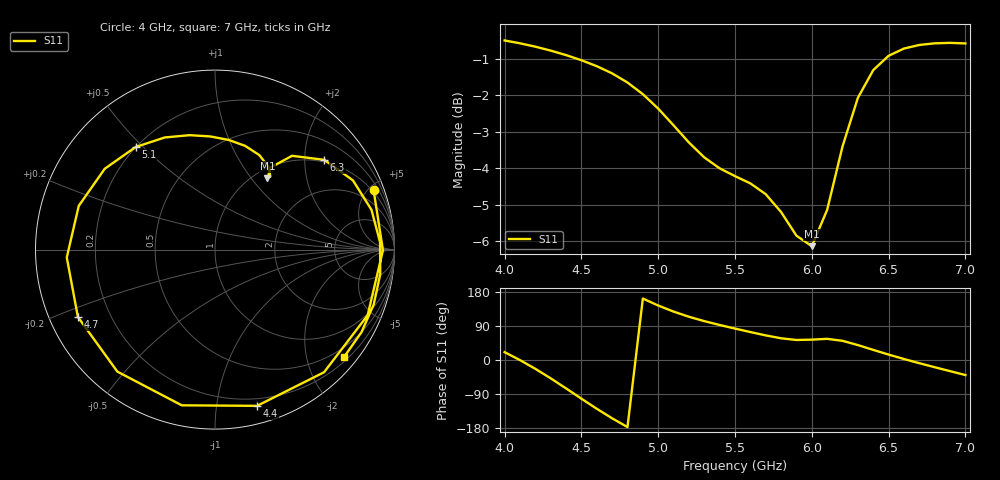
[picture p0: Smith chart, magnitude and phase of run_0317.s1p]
! Touchstone file exported from HFSS 2024.2.0
!  File:  C:/Users/wsak9/Desktop/Sim Fast/Widenad Patch/WP_AI_V1_sweep.aedt
!  Generated:  04:24:50 AM Oct 14, 2026
!  Design:  A1_model
!  Project:  WP_AI_V1_sweep
!  Setup:  Setup1
!  Solution:  Sweep
! Variables:
!  Air_gap = 3.98mm
!  Curve_Amp1 = 1.12
!  Curve_len1 = 1
!  Curve_pos = 10.515mm
!  Extra = 6.64mm
!  H_sub = 0.79mm
!  L_Patch = 17.03mm
!  L_Patch1 = 15.72mm
!  Sx = 3.78mm
!  Sy = 3.28mm
!  WS = 0.42mm
!  W_Patch = 17mm
!  W_Patch1 = 9.08mm
!Data is not renormalized
# GHz S MA
! Terminal data exported
! Port[1] = 1
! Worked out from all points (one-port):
!   31 points, 4 GHz to 7 GHz, reference per port
!   lowest |S11| = -6.1 dB at 6 GHz (marker M1), VSWR 2.95
!   |S11| at or under -10 dB: nowhere
!   S11 on the Smith chart (normalised r, x): 4 GHz: 0.87, +5.34; 4.4 GHz: 0.14, -1.30; 4.7 GHz: 0.08, -0.23; 5.1 GHz: 0.20, +0.47; 6.3 GHz: 0.94, +2.48; 7 GHz: 0.29, -2.75
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4  0.9441 20.7
4.1  0.9357 -0.2
4.2  0.9258 -23.3
4.3  0.9144 -48.4
4.4  0.9015 -74.9
4.5  0.8871 -102.1
4.6  0.8707 -128.7
4.7  0.8511 -153.8
4.8  0.827 -177.0
4.9  0.7972 162.2
5  0.7617 143.7
5.1  0.7226 127.7
5.2  0.6846 114.1
5.3  0.6531 102.6
5.5  0.6158 82.9
5.7  0.5817 64.9
5.8  0.5499 57.3
5.9  0.5104 52.8
6  0.4938 53.7
6.1  0.5537 55.8
6.2  0.6761 50.6
6.3  0.788 39.4
6.4  0.8598 26.7
6.5  0.8996 14.3
6.6  0.9204 2.6
6.7  0.9308 -8.4
6.8  0.9356 -19.0
7  0.9354 -39.7
